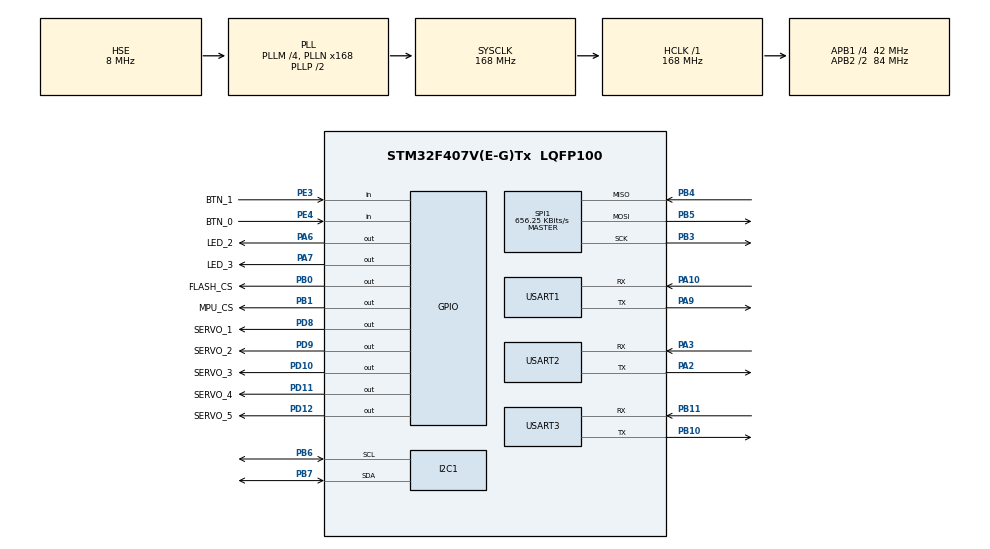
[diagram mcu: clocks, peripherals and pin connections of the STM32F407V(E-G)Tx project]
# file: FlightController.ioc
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Dma.I2C1_RX.0.Direction=DMA_PERIPH_TO_MEMORY
Dma.I2C1_RX.0.FIFOMode=DMA_FIFOMODE_DISABLE
Dma.I2C1_RX.0.Instance=DMA1_Stream0
Dma.I2C1_RX.0.MemDataAlignment=DMA_MDATAALIGN_BYTE
Dma.I2C1_RX.0.MemInc=DMA_MINC_ENABLE
Dma.I2C1_RX.0.Mode=DMA_NORMAL
Dma.I2C1_RX.0.PeriphDataAlignment=DMA_PDATAALIGN_BYTE
Dma.I2C1_RX.0.PeriphInc=DMA_PINC_DISABLE
Dma.I2C1_RX.0.Priority=DMA_PRIORITY_LOW
Dma.I2C1_TX.1.Direction=DMA_MEMORY_TO_PERIPH
Dma.I2C1_TX.1.FIFOMode=DMA_FIFOMODE_DISABLE
Dma.I2C1_TX.1.Instance=DMA1_Stream6
Dma.I2C1_TX.1.MemDataAlignment=DMA_MDATAALIGN_BYTE
Dma.I2C1_TX.1.MemInc=DMA_MINC_ENABLE
Dma.I2C1_TX.1.Mode=DMA_NORMAL
Dma.I2C1_TX.1.PeriphDataAlignment=DMA_PDATAALIGN_BYTE
Dma.I2C1_TX.1.PeriphInc=DMA_PINC_DISABLE
Dma.I2C1_TX.1.Priority=DMA_PRIORITY_LOW
Dma.Request0=I2C1_RX
Dma.Request1=I2C1_TX
Dma.Request2=SPI1_RX
Dma.Request3=SPI1_TX
Dma.SPI1_RX.2.Direction=DMA_PERIPH_TO_MEMORY
Dma.SPI1_RX.2.FIFOMode=DMA_FIFOMODE_DISABLE
Dma.SPI1_RX.2.Instance=DMA2_Stream0
Dma.SPI1_RX.2.MemDataAlignment=DMA_MDATAALIGN_BYTE
Dma.SPI1_RX.2.MemInc=DMA_MINC_ENABLE
Dma.SPI1_RX.2.Mode=DMA_NORMAL
Dma.SPI1_RX.2.PeriphDataAlignment=DMA_PDATAALIGN_BYTE
Dma.SPI1_RX.2.PeriphInc=DMA_PINC_DISABLE
Dma.SPI1_RX.2.Priority=DMA_PRIORITY_LOW
Dma.SPI1_TX.3.Direction=DMA_MEMORY_TO_PERIPH
Dma.SPI1_TX.3.FIFOMode=DMA_FIFOMODE_DISABLE
Dma.SPI1_TX.3.Instance=DMA2_Stream3
Dma.SPI1_TX.3.MemDataAlignment=DMA_MDATAALIGN_BYTE
Dma.SPI1_TX.3.MemInc=DMA_MINC_ENABLE
Dma.SPI1_TX.3.Mode=DMA_NORMAL
Dma.SPI1_TX.3.PeriphDataAlignment=DMA_PDATAALIGN_BYTE
Dma.SPI1_TX.3.PeriphInc=DMA_PINC_DISABLE
Dma.SPI1_TX.3.Priority=DMA_PRIORITY_LOW
I2C1.I2C_Mode=I2C_Fast
Mcu.Family=STM32F4
Mcu.Name=STM32F407V(E-G)Tx
Mcu.Package=LQFP100
NVIC.DMA1_Stream0_IRQn=true\:0\:0\:false\:true\:true\:1\:false\:true
NVIC.DMA1_Stream6_IRQn=true\:0\:0\:false\:true\:true\:2\:false\:true
NVIC.DMA2_Stream0_IRQn=true\:0\:0\:false\:false\:true\:false\:true
NVIC.DMA2_Stream3_IRQn=true\:0\:0\:false\:false\:true\:false\:true
NVIC.I2C1_EV_IRQn=true\:0\:3\:false\:true\:true\:4\:true\:true
NVIC.PriorityGroup=NVIC_PRIORITYGROUP_0
NVIC.TIM1_TRG_COM_TIM11_IRQn=true\:0\:1\:false\:true\:true\:5\:true\:true
NVIC.TIM1_UP_TIM10_IRQn=true\:0\:2\:true\:true\:true\:3\:true\:true
PA10.Mode=Asynchronous
PA10.Signal=USART1_RX
PA2.Mode=Asynchronous
PA2.Signal=USART2_TX
PA3.Mode=Asynchronous
PA3.Signal=USART2_RX
PA6.GPIO_Label=LED_2
PA6.Signal=GPIO_Output
PA7.GPIO_Label=LED_3
PA7.Signal=GPIO_Output
PA9.Mode=Asynchronous
PA9.Signal=USART1_TX
PB0.GPIO_Label=FLASH_CS
PB0.Signal=GPIO_Output
PB1.GPIO_Label=MPU_CS
PB1.Signal=GPIO_Output
PB10.Mode=Asynchronous
PB10.Signal=USART3_TX
PB11.Mode=Asynchronous
PB11.Signal=USART3_RX
PB3.Mode=Full_Duplex_Master
PB3.Signal=SPI1_SCK
PB4.Mode=Full_Duplex_Master
PB4.Signal=SPI1_MISO
PB5.Mode=Full_Duplex_Master
PB5.Signal=SPI1_MOSI
PB6.Mode=I2C
PB6.Signal=I2C1_SCL
PB7.Mode=I2C
PB7.Signal=I2C1_SDA
PC14-OSC32_IN.Mode=LSE-External-Oscillator
PC14-OSC32_IN.Signal=RCC_OSC32_IN
PC15-OSC32_OUT.Mode=LSE-External-Oscillator
PC15-OSC32_OUT.Signal=RCC_OSC32_OUT
PD10.GPIO_Label=SERVO_3
PD10.Signal=GPIO_Output
PD11.GPIO_Label=SERVO_4
PD11.Signal=GPIO_Output
PD12.GPIO_Label=SERVO_5
PD12.Signal=GPIO_Output
PD8.GPIO_Label=SERVO_1
PD8.Signal=GPIO_Output
PD9.GPIO_Label=SERVO_2
PD9.Signal=GPIO_Output
PE3.GPIO_Label=BTN_1
PE3.GPIO_PuPd=GPIO_PULLUP
PE3.Signal=GPIO_Input
PE4.GPIO_Label=BTN_0
PE4.GPIO_PuPd=GPIO_PULLUP
PE4.Signal=GPIO_Input
PH0-OSC_IN.Mode=HSE-External-Oscillator
PH0-OSC_IN.Signal=RCC_OSC_IN
PH1-OSC_OUT.Mode=HSE-External-Oscillator
PH1-OSC_OUT.Signal=RCC_OSC_OUT
ProjectManager.HeapSize=0x200
ProjectManager.StackSize=0x400
ProjectManager.TargetToolchain=STM32CubeIDE
RCC.48MHZClocksFreq_Value=84000000
RCC.AHBFreq_Value=168000000
RCC.APB1CLKDivider=RCC_HCLK_DIV4
RCC.APB1Freq_Value=42000000
RCC.APB1TimFreq_Value=84000000
RCC.APB2CLKDivider=RCC_HCLK_DIV2
RCC.APB2Freq_Value=84000000
RCC.APB2TimFreq_Value=168000000
RCC.CortexFreq_Value=168000000
RCC.HCLKFreq_Value=168000000
RCC.HSE_VALUE=8000000
RCC.HSI_VALUE=16000000
RCC.PLLM=4
RCC.PLLN=168
RCC.PLLSourceVirtual=RCC_PLLSOURCE_HSE
RCC.RCC_RTC_Clock_Source=RCC_RTCCLKSOURCE_LSE
RCC.RCC_RTC_Clock_SourceVirtual=RCC_RTCCLKSOURCE_LSE
RCC.SYSCLKFreq_VALUE=168000000
RCC.SYSCLKSource=RCC_SYSCLKSOURCE_PLLCLK
RCC.VCOOutputFreq_Value=336000000
SPI1.BaudRatePrescaler=SPI_BAUDRATEPRESCALER_128
SPI1.CLKPhase=SPI_PHASE_1EDGE
SPI1.CLKPolarity=SPI_POLARITY_HIGH
SPI1.CalculateBaudRate=656.25 KBits/s
SPI1.DataSize=SPI_DATASIZE_8BIT
SPI1.Direction=SPI_DIRECTION_2LINES
SPI1.Mode=SPI_MODE_MASTER
SPI1.VirtualType=VM_MASTER
TIM10.ClockDivision=TIM_CLOCKDIVISION_DIV1
TIM10.Period=0xFFFF
TIM10.Prescaler=167
TIM11.Period=1500
TIM11.Prescaler=167
USART1.VirtualMode=VM_ASYNC
USART2.VirtualMode=VM_ASYNC
USART3.VirtualMode=VM_ASYNC
VP_RTC_VS_RTC_Activate.Mode=RTC_Enabled
VP_TIM10_VS_ClockSourceINT.Mode=Enable_Timer
VP_TIM11_VS_ClockSourceINT.Mode=Enable_Timer
board=custom

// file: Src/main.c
/* USER CODE BEGIN Header */
/**
 ******************************************************************************
 * @file           : main.c
 * @brief          : Main program body
 ******************************************************************************
 * @attention
 *
 * <h2><center>&copy; Copyright (c) 2019 STMicroelectronics.
 * All rights reserved.</center></h2>
 *
 * This software component is licensed by ST under BSD 3-Clause license,
 * the "License"; You may not use this file except in compliance with the
 * License. You may obtain a copy of the License at:
 *                        opensource.org/licenses/BSD-3-Clause
 *
 ******************************************************************************
 */
/* USER CODE END Header */

#include "main.h"

/* USER CODE BEGIN Includes */
#include "mpu.h"
#ifndef STM32F4
#define STM32F4
#endif
#include "serial.h"
#include "config.h"
#include "WiMOD_HCI_Layer.h"
#include <string.h>
#include "quaternion.h"
#include "control.h"
#include "MadgwickAHRS.h"

/* USER CODE END Includes */

I2C_HandleTypeDef hi2c1;
DMA_HandleTypeDef hdma_i2c1_rx;
DMA_HandleTypeDef hdma_i2c1_tx;

RTC_HandleTypeDef hrtc;

SPI_HandleTypeDef hspi1;
DMA_HandleTypeDef hdma_spi1_rx;
DMA_HandleTypeDef hdma_spi1_tx;

TIM_HandleTypeDef htim10;
TIM_HandleTypeDef htim11;

UART_HandleTypeDef huart1;
UART_HandleTypeDef huart2;
UART_HandleTypeDef huart3;

/* USER CODE BEGIN PV */

float rot[3] = { 0, 0, 0 };
float vel[3] = { 0, 0, 0 };
float trans[3] = { 0, 0, 0 };

extern Quaternion q_soll;

extern uint8_t buff_acc[6];
extern uint8_t buff_gyro[6];
extern uint8_t gruff[14]; //Great buffer

uint8_t watch_check = 0;
extern uint16_t servo[5];
uint8_t curr_servo;

int8_t gyro_offset[3];
uint8_t flag_mpu;
extern float looptime;

/* USER CODE END PV */

void SystemClock_Config(void);
static void MX_GPIO_Init(void);
static void MX_DMA_Init(void);
static void MX_I2C1_Init(void);
static void MX_RTC_Init(void);
static void MX_SPI1_Init(void);
static void MX_TIM10_Init(void);
static void MX_TIM11_Init(void);
static void MX_USART1_UART_Init(void);
static void MX_USART2_UART_Init(void);
static void MX_USART3_UART_Init(void);
static void MX_NVIC_Init(void);

/* USER CODE BEGIN 0 */
void HAL_TIM_PeriodElapsedCallback(TIM_HandleTypeDef *htim) {
	/*
	 if (htim->Instance == TIM10) {
	 } // */
	if (htim->Instance == TIM11) {
		//HAL_GPIO_TogglePin(LED_3_GPIO_Port, LED_3_Pin);
		HAL_GPIO_WritePin(SERVO_1_GPIO_Port, SERVO_1_Pin, GPIO_PIN_RESET);
		HAL_GPIO_WritePin(SERVO_2_GPIO_Port, SERVO_2_Pin, GPIO_PIN_RESET);
		HAL_GPIO_WritePin(SERVO_3_GPIO_Port, SERVO_3_Pin, GPIO_PIN_RESET);
		HAL_GPIO_WritePin(SERVO_4_GPIO_Port, SERVO_4_Pin, GPIO_PIN_RESET);
		HAL_GPIO_WritePin(SERVO_5_GPIO_Port, SERVO_5_Pin, GPIO_PIN_RESET);
		if (flag_mpu) {
			//HAL_TIM_Base_Stop_IT(htim);
			if (watch_check) {
				led3_t();
				HAL_DMA_Abort(&hdma_i2c1_tx);
				HAL_DMA_Abort(&hdma_i2c1_rx);

				hi2c1.ErrorCode = 0;
				flag_mpu = 0;
				watch_check = 0;
			} else {
				htim->Instance->ARR = 5000; //5ms timeout
				mpu_get_all_dma(&hi2c1);
				watch_check = 1;
			}
			return;
		}
		switch (curr_servo) {
		case 0:
			HAL_GPIO_WritePin(SERVO_1_GPIO_Port, SERVO_1_Pin, GPIO_PIN_SET);
			htim->Instance->ARR = servo[0];
			break;
		case 1:
			HAL_GPIO_WritePin(SERVO_2_GPIO_Port, SERVO_2_Pin, GPIO_PIN_SET);
			htim->Instance->ARR = servo[1];
			break;
		case 2:
			HAL_GPIO_WritePin(SERVO_3_GPIO_Port, SERVO_3_Pin, GPIO_PIN_SET);
			htim->Instance->ARR = servo[2];
			break;
		case 3:
			HAL_GPIO_WritePin(SERVO_4_GPIO_Port, SERVO_4_Pin, GPIO_PIN_SET);
			htim->Instance->ARR = servo[3];
			break;
		case 4:
			HAL_GPIO_WritePin(SERVO_5_GPIO_Port, SERVO_5_Pin, GPIO_PIN_SET);
			htim->Instance->ARR = servo[4];
			break;
		}
		curr_servo++;
		flag_mpu = 1;
		if (curr_servo > 4) {
			curr_servo = 0;
		}
	}
	while (0)
		;
}

/**
 * @brief  Master Rx Transfer completed callback.
 * @param  hi2c Pointer to a I2C_HandleTypeDef structure that contains
 *                the configuration information for the specified I2C.
 * @retval None
 */
void HAL_I2C_MemRxCpltCallback(I2C_HandleTypeDef *hi2c) {

	//Zeit messen
	HAL_TIM_Base_Stop(&htim10);
	led2_t();
	looptime = htim10.Instance->CNT * 0.000001; //In s umrechnen
	htim10.Instance->CNT = 0;
	HAL_TIM_Base_Start(&htim10);
	//Daten aus Buffer gruff holen und zusammensetzen
	int16_t acc[3], gyro[3], tempt;
	float gx, gy, gz, temp;
	acc[0] = (((int16_t) gruff[0] << 8) | gruff[1]);
	acc[0] = acc[0] / ACC_SCALE_4g;
	acc[1] = (((int16_t) gruff[2] << 8) | gruff[3]);
	acc[1] = acc[1] / ACC_SCALE_4g;
	acc[2] = (((int16_t) gruff[4] << 8) | gruff[5]);
	acc[2] = acc[2] / ACC_SCALE_4g;
	tempt = ((int16_t) gruff[6] << 8) | gruff[7];
	temp = (tempt / 340.0f) + 36.53f;
	gyro[0] = (((int16_t) gruff[8] << 8) | gruff[9]) - gyro_offset[0];
	gx = ((float) gyro[0] / GYRO_SCALE_2000dps) * (M_PI / 180.0f);
	gyro[1] = (((int16_t) gruff[10] << 8) | gruff[11]) - gyro_offset[1];
	gy = ((float) gyro[1] / GYRO_SCALE_2000dps) * (M_PI / 180.0f);
	gyro[2] = (((int16_t) gruff[12] << 8) | gruff[13]) - gyro_offset[2];
	gz = ((float) gyro[2] / GYRO_SCALE_2000dps) * (M_PI / 180.0f);

	MadgwickAHRSupdateIMU(gx, gy, gz, acc[0], acc[1], acc[2]);

	pid_yaw();
	pid_pitch();
	pid_roll();
	watch_check = 0;
	flag_mpu = 0;
	htim11.Instance->ARR = 10; // Damit er gleich zurück zum Servo springt
	htim11.Instance->CNT = 0;
	//HAL_TIM_Base_Start_IT(&htim11);

}

void dump_quat_on_uart() {
	uint8_t buff[8];
	int16_t iq0, iq1, iq2, iq3;
	iq0 = (int16_t) (q_ist.q0 * 10000.0f);
	iq1 = (int16_t) (q_ist.q1 * 10000.0f);
	iq2 = (int16_t) (q_ist.q2 * 10000.0f);
	iq3 = (int16_t) (q_ist.q3 * 10000.0f);
	buff[0] = iq0 >> 8;
	buff[1] = iq0;
	buff[2] = iq1 >> 8;
	buff[3] = iq1;
	buff[4] = iq2 >> 8;
	buff[5] = iq2;
	buff[6] = iq3 >> 8;
	buff[7] = iq3;
	//itoa((int16_t) (q0 * 1000.f), buff, 10);
	//HAL_UART_Transmit(&huart1, buff, 8, 160);
	Quaternion qm;
	quat_copy(&q_ist, &qm);
	Quaternion qx = { 0, 1, 0, 0 }, qy = { 0, 0, 1, 0 }, qz = { 0, 0, 0, 1 };
	//Achsen auf aktuelle Position projezieren
	quat_qpq(&qm, &qx, &qx);
	quat_qpq(&qm, &qy, &qy);
	quat_qpq(&qm, &qz, &qz);

	char txt_buff[] = "   :   :   :   ";
	itoa((int) (qx.q0 * 10.0f), &txt_buff[0], 10);
	itoa((int) (qx.q1 * 10.0f), &txt_buff[4], 10);
	itoa((int) (qx.q2 * 10.0f), &txt_buff[8], 10);
	itoa((int) (qx.q3 * 10.0f), &txt_buff[12], 10);
	HAL_UART_Transmit(&huart1, txt_buff, 16, 160);
	HAL_UART_Transmit(&huart1, "\n\r", 2, 160);
}

TWiMOD_HCI_Message lora_cb(TWiMOD_HCI_Message msg) {
	TWiMOD_HCI_Message ret;
	return ret;
}

/* USER CODE END 0 */

int main(void)
{

  /* MCU Configuration--------------------------------------------------------*/

  /* Reset of all peripherals, Initializes the Flash interface and the Systick. */
  HAL_Init();

  /* Configure the system clock */
  SystemClock_Config();

  /* Initialize all configured peripherals */
  MX_GPIO_Init();
  MX_DMA_Init();
  MX_I2C1_Init();
  MX_RTC_Init();
  MX_SPI1_Init();
  MX_TIM10_Init();
  MX_TIM11_Init();
  MX_USART1_UART_Init();
  MX_USART2_UART_Init();
  MX_USART3_UART_Init();

  /* Initialize interrupts */
  MX_NVIC_Init();
  /* USER CODE BEGIN 2 */
	print_uart("Startup...");
	HAL_NVIC_DisableIRQ(I2C1_EV_IRQn);
	//mpu_init_spi(&hspi1);
	mpu_init_std(&hi2c1);
	//mpu_set_sensors(INV_XYZ_ACCEL | INV_XYZ_GYRO | INV_XYZ_COMPASS);

	pid_init();
	leds_reset(); //LEDs ausschalten
	HAL_GPIO_WritePin(MPU_CS_GPIO_Port, MPU_CS_Pin, GPIO_PIN_SET); // MPU Select auf HIGH
	HAL_GPIO_WritePin(FLASH_CS_GPIO_Port, FLASH_CS_Pin, GPIO_PIN_SET); // Flash Select auf HIGH

	HAL_Delay(10);
	blink(4);
	mpu_calibrate(&hi2c1, gyro_offset, rot);
	//
	//TWiMOD_HCI_CbRxMessage cbm = (&lora_cb);
	TWiMOD_HCI_Message iMsg = { 0, 0x01, 0x01, 0, 0 };
	WiMOD_HCI_Init(&lora_cb, &iMsg);
	HAL_Delay(5);
	// */
  /* USER CODE END 2 */

  /* Infinite loop */
  /* USER CODE BEGIN WHILE */

	curr_servo = 0;
	flag_mpu = 0;
	center_off(); //Servos mittig, motor aus
	HAL_NVIC_EnableIRQ(I2C1_EV_IRQn);
	//HAL_TIM_Base_Start(&htim10); //MPU/IMU Timer
	HAL_TIM_Base_Start_IT(&htim11); //Servo Timer

	uint8_t state = 1, demo = 0;
	uint32_t tick = 0, tack = 0;

	Quaternion q180 = {0,0,0,1};

	while (1) {
		switch (state) {
		case 0:	//IDLE
			servo[0] = 1000; //Motor aus
			break;

		case 1: //DEMO
			switch (demo) {
			case 0:
				//Startup Motor
				if (servo[2] < 1500) {
					servo[2]++;
				} else {
					demo++;
					tick = HAL_GetTick();
				}
				break;

			case 1:
				//Strecke fliegen,
				if (HAL_GetTick() - tick >= 15000) {
					demo++;
				}
				break;
			case 2:
				//Ne Kurve machen um 180 Grad
				quat_multiply(&q_soll, &q180, &q_soll);
				//yaw(300);
				demo = 0;
				break;

			default:
				break;
			}
			break;
		default:
			break;
		}

		//Sekündlich Dinge tun
		if (HAL_GetTick() - tack >= 1000) {
			TWiMOD_HCI_Message wiMsg;
			wiMsg.MsgID = RADIOLINK_MSG_SEND_U_DATA_REQ;
			wiMsg.SapID = RADIOLINK_ID;
			wiMsg.Payload[0] = 0x17;
			wiMsg.Payload[1] = 0xBB;
			wiMsg.Payload[2] = 0xAA;

			wiMsg.Payload[3] = (uint8_t) (q_ist.q0 + 1.0) * 100.0;
			wiMsg.Payload[4] = (uint8_t) (q_ist.q1 + 1.0) * 100.0;
			wiMsg.Payload[5] = (uint8_t) (q_ist.q2 + 1.0) * 100.0;
			wiMsg.Payload[6] = (uint8_t) (q_ist.q3 + 1.0) * 100.0;
			wiMsg.Length = 7;
			WiMOD_HCI_SendMessage(&wiMsg);

			dump_quat_on_uart();

			//Checksumme über Sensorwerte bilden

			tack = HAL_GetTick();
		}

		if (!HAL_GPIO_ReadPin(BTN_0_GPIO_Port, BTN_0_Pin)) {
			state = 0;
		}
	}
    /* USER CODE END WHILE */

}

void SystemClock_Config(void)
{
  RCC_OscInitTypeDef RCC_OscInitStruct = {0};
  RCC_ClkInitTypeDef RCC_ClkInitStruct = {0};
  RCC_PeriphCLKInitTypeDef PeriphClkInitStruct = {0};

  /** Configure the main internal regulator output voltage
  */
  __HAL_RCC_PWR_CLK_ENABLE();
  __HAL_PWR_VOLTAGESCALING_CONFIG(PWR_REGULATOR_VOLTAGE_SCALE1);
  /** Initializes the CPU, AHB and APB busses clocks
  */
  RCC_OscInitStruct.OscillatorType = RCC_OSCILLATORTYPE_HSE|RCC_OSCILLATORTYPE_LSE;
  RCC_OscInitStruct.HSEState = RCC_HSE_ON;
  RCC_OscInitStruct.LSEState = RCC_LSE_ON;
  RCC_OscInitStruct.PLL.PLLState = RCC_PLL_ON;
  RCC_OscInitStruct.PLL.PLLSource = RCC_PLLSOURCE_HSE;
  RCC_OscInitStruct.PLL.PLLM = 4;
  RCC_OscInitStruct.PLL.PLLN = 168;
  RCC_OscInitStruct.PLL.PLLP = RCC_PLLP_DIV2;
  RCC_OscInitStruct.PLL.PLLQ = 4;
  if (HAL_RCC_OscConfig(&RCC_OscInitStruct) != HAL_OK)
  {
    Error_Handler();
  }
  /** Initializes the CPU, AHB and APB busses clocks
  */
  RCC_ClkInitStruct.ClockType = RCC_CLOCKTYPE_HCLK|RCC_CLOCKTYPE_SYSCLK
                              |RCC_CLOCKTYPE_PCLK1|RCC_CLOCKTYPE_PCLK2;
  RCC_ClkInitStruct.SYSCLKSource = RCC_SYSCLKSOURCE_PLLCLK;
  RCC_ClkInitStruct.AHBCLKDivider = RCC_SYSCLK_DIV1;
  RCC_ClkInitStruct.APB1CLKDivider = RCC_HCLK_DIV4;
  RCC_ClkInitStruct.APB2CLKDivider = RCC_HCLK_DIV2;

  if (HAL_RCC_ClockConfig(&RCC_ClkInitStruct, FLASH_LATENCY_5) != HAL_OK)
  {
    Error_Handler();
  }
  PeriphClkInitStruct.PeriphClockSelection = RCC_PERIPHCLK_RTC;
  PeriphClkInitStruct.RTCClockSelection = RCC_RTCCLKSOURCE_LSE;
  if (HAL_RCCEx_PeriphCLKConfig(&PeriphClkInitStruct) != HAL_OK)
  {
    Error_Handler();
  }
}

/**
  * @brief NVIC Configuration.
  * @retval None
  */
static void MX_NVIC_Init(void)
{
  /* DMA1_Stream0_IRQn interrupt configuration */
  HAL_NVIC_SetPriority(DMA1_Stream0_IRQn, 0, 0);
  HAL_NVIC_EnableIRQ(DMA1_Stream0_IRQn);
  /* DMA1_Stream6_IRQn interrupt configuration */
  HAL_NVIC_SetPriority(DMA1_Stream6_IRQn, 0, 0);
  HAL_NVIC_EnableIRQ(DMA1_Stream6_IRQn);
  /* TIM1_UP_TIM10_IRQn interrupt configuration */
  HAL_NVIC_SetPriority(TIM1_UP_TIM10_IRQn, 0, 2);
  HAL_NVIC_EnableIRQ(TIM1_UP_TIM10_IRQn);
  /* I2C1_EV_IRQn interrupt configuration */
  HAL_NVIC_SetPriority(I2C1_EV_IRQn, 0, 3);
  HAL_NVIC_EnableIRQ(I2C1_EV_IRQn);
  /* TIM1_TRG_COM_TIM11_IRQn interrupt configuration */
  HAL_NVIC_SetPriority(TIM1_TRG_COM_TIM11_IRQn, 0, 1);
  HAL_NVIC_EnableIRQ(TIM1_TRG_COM_TIM11_IRQn);
}

static void MX_I2C1_Init(void)
{

  hi2c1.Instance = I2C1;
  hi2c1.Init.ClockSpeed = 400000;
  hi2c1.Init.DutyCycle = I2C_DUTYCYCLE_2;
  hi2c1.Init.OwnAddress1 = 0;
  hi2c1.Init.AddressingMode = I2C_ADDRESSINGMODE_7BIT;
  hi2c1.Init.DualAddressMode = I2C_DUALADDRESS_DISABLE;
  hi2c1.Init.OwnAddress2 = 0;
  hi2c1.Init.GeneralCallMode = I2C_GENERALCALL_DISABLE;
  hi2c1.Init.NoStretchMode = I2C_NOSTRETCH_DISABLE;
  if (HAL_I2C_Init(&hi2c1) != HAL_OK)
  {
    Error_Handler();
  }

}

static void MX_RTC_Init(void)
{

  /** Initialize RTC Only
  */
  hrtc.Instance = RTC;
  hrtc.Init.HourFormat = RTC_HOURFORMAT_24;
  hrtc.Init.AsynchPrediv = 127;
  hrtc.Init.SynchPrediv = 255;
  hrtc.Init.OutPut = RTC_OUTPUT_DISABLE;
  hrtc.Init.OutPutPolarity = RTC_OUTPUT_POLARITY_HIGH;
  hrtc.Init.OutPutType = RTC_OUTPUT_TYPE_OPENDRAIN;
  if (HAL_RTC_Init(&hrtc) != HAL_OK)
  {
    Error_Handler();
  }

}

static void MX_SPI1_Init(void)
{

  /* SPI1 parameter configuration*/
  hspi1.Instance = SPI1;
  hspi1.Init.Mode = SPI_MODE_MASTER;
  hspi1.Init.Direction = SPI_DIRECTION_2LINES;
  hspi1.Init.DataSize = SPI_DATASIZE_8BIT;
  hspi1.Init.CLKPolarity = SPI_POLARITY_HIGH;
  hspi1.Init.CLKPhase = SPI_PHASE_1EDGE;
  hspi1.Init.NSS = SPI_NSS_SOFT;
  hspi1.Init.BaudRatePrescaler = SPI_BAUDRATEPRESCALER_128;
  hspi1.Init.FirstBit = SPI_FIRSTBIT_MSB;
  hspi1.Init.TIMode = SPI_TIMODE_DISABLE;
  hspi1.Init.CRCCalculation = SPI_CRCCALCULATION_DISABLE;
  hspi1.Init.CRCPolynomial = 10;
  if (HAL_SPI_Init(&hspi1) != HAL_OK)
  {
    Error_Handler();
  }

}

static void MX_TIM10_Init(void)
{

  /* USER CODE BEGIN TIM10_Init 1 */
//PRE: 42-1 ; Period: 16000
  /* USER CODE END TIM10_Init 1 */
  htim10.Instance = TIM10;
  htim10.Init.Prescaler = 167;
  htim10.Init.CounterMode = TIM_COUNTERMODE_UP;
  htim10.Init.Period = 0xFFFF;
  htim10.Init.ClockDivision = TIM_CLOCKDIVISION_DIV1;
  htim10.Init.AutoReloadPreload = TIM_AUTORELOAD_PRELOAD_DISABLE;
  if (HAL_TIM_Base_Init(&htim10) != HAL_OK)
  {
    Error_Handler();
  }

}

static void MX_TIM11_Init(void)
{

  /* USER CODE BEGIN TIM11_Init 1 */
//PRE: 168-1 ; Period: 5000
  /* USER CODE END TIM11_Init 1 */
  htim11.Instance = TIM11;
  htim11.Init.Prescaler = 167;
  htim11.Init.CounterMode = TIM_COUNTERMODE_UP;
  htim11.Init.Period = 1500;
  htim11.Init.ClockDivision = TIM_CLOCKDIVISION_DIV1;
  htim11.Init.AutoReloadPreload = TIM_AUTORELOAD_PRELOAD_DISABLE;
  if (HAL_TIM_Base_Init(&htim11) != HAL_OK)
  {
    Error_Handler();
  }

}

static void MX_USART1_UART_Init(void)
{

  huart1.Instance = USART1;
  huart1.Init.BaudRate = 115200;
  huart1.Init.WordLength = UART_WORDLENGTH_8B;
  huart1.Init.StopBits = UART_STOPBITS_1;
  huart1.Init.Parity = UART_PARITY_NONE;
  huart1.Init.Mode = UART_MODE_TX_RX;
  huart1.Init.HwFlowCtl = UART_HWCONTROL_NONE;
  huart1.Init.OverSampling = UART_OVERSAMPLING_16;
  if (HAL_UART_Init(&huart1) != HAL_OK)
  {
    Error_Handler();
  }

}

static void MX_USART2_UART_Init(void)
{

  huart2.Instance = USART2;
  huart2.Init.BaudRate = 115200;
  huart2.Init.WordLength = UART_WORDLENGTH_8B;
  huart2.Init.StopBits = UART_STOPBITS_1;
  huart2.Init.Parity = UART_PARITY_NONE;
  huart2.Init.Mode = UART_MODE_TX_RX;
  huart2.Init.HwFlowCtl = UART_HWCONTROL_NONE;
  huart2.Init.OverSampling = UART_OVERSAMPLING_16;
  if (HAL_UART_Init(&huart2) != HAL_OK)
  {
    Error_Handler();
  }

}

static void MX_USART3_UART_Init(void)
{

  huart3.Instance = USART3;
  huart3.Init.BaudRate = 115200;
  huart3.Init.WordLength = UART_WORDLENGTH_8B;
  huart3.Init.StopBits = UART_STOPBITS_1;
  huart3.Init.Parity = UART_PARITY_NONE;
  huart3.Init.Mode = UART_MODE_TX_RX;
  huart3.Init.HwFlowCtl = UART_HWCONTROL_NONE;
  huart3.Init.OverSampling = UART_OVERSAMPLING_16;
  if (HAL_UART_Init(&huart3) != HAL_OK)
  {
    Error_Handler();
  }

}

static void MX_DMA_Init(void)
{

  /* DMA controller clock enable */
  __HAL_RCC_DMA1_CLK_ENABLE();
  __HAL_RCC_DMA2_CLK_ENABLE();

  /* DMA interrupt init */
  /* DMA2_Stream0_IRQn interrupt configuration */
  HAL_NVIC_SetPriority(DMA2_Stream0_IRQn, 0, 0);
  HAL_NVIC_EnableIRQ(DMA2_Stream0_IRQn);
  /* DMA2_Stream3_IRQn interrupt configuration */
  HAL_NVIC_SetPriority(DMA2_Stream3_IRQn, 0, 0);
  HAL_NVIC_EnableIRQ(DMA2_Stream3_IRQn);

}

static void MX_GPIO_Init(void)
{
  GPIO_InitTypeDef GPIO_InitStruct = {0};

  /* GPIO Ports Clock Enable */
  __HAL_RCC_GPIOE_CLK_ENABLE();
  __HAL_RCC_GPIOC_CLK_ENABLE();
  __HAL_RCC_GPIOH_CLK_ENABLE();
  __HAL_RCC_GPIOA_CLK_ENABLE();
  __HAL_RCC_GPIOB_CLK_ENABLE();
  __HAL_RCC_GPIOD_CLK_ENABLE();

  /*Configure GPIO pin Output Level */
  HAL_GPIO_WritePin(GPIOA, LED_2_Pin|LED_3_Pin, GPIO_PIN_RESET);

  /*Configure GPIO pin Output Level */
  HAL_GPIO_WritePin(GPIOB, FLASH_CS_Pin|MPU_CS_Pin, GPIO_PIN_RESET);

  /*Configure GPIO pin Output Level */
  HAL_GPIO_WritePin(GPIOD, SERVO_1_Pin|SERVO_2_Pin|SERVO_3_Pin|SERVO_4_Pin
                          |SERVO_5_Pin, GPIO_PIN_RESET);

  /*Configure GPIO pins : BTN_1_Pin BTN_0_Pin */
  GPIO_InitStruct.Pin = BTN_1_Pin|BTN_0_Pin;
  GPIO_InitStruct.Mode = GPIO_MODE_INPUT;
  GPIO_InitStruct.Pull = GPIO_PULLUP;
  HAL_GPIO_Init(GPIOE, &GPIO_InitStruct);

  /*Configure GPIO pins : LED_2_Pin LED_3_Pin */
  GPIO_InitStruct.Pin = LED_2_Pin|LED_3_Pin;
  GPIO_InitStruct.Mode = GPIO_MODE_OUTPUT_PP;
  GPIO_InitStruct.Pull = GPIO_NOPULL;
  GPIO_InitStruct.Speed = GPIO_SPEED_FREQ_LOW;
  HAL_GPIO_Init(GPIOA, &GPIO_InitStruct);

  /*Configure GPIO pins : FLASH_CS_Pin MPU_CS_Pin */
  GPIO_InitStruct.Pin = FLASH_CS_Pin|MPU_CS_Pin;
  GPIO_InitStruct.Mode = GPIO_MODE_OUTPUT_PP;
  GPIO_InitStruct.Pull = GPIO_NOPULL;
  GPIO_InitStruct.Speed = GPIO_SPEED_FREQ_LOW;
  HAL_GPIO_Init(GPIOB, &GPIO_InitStruct);

  /*Configure GPIO pins : SERVO_1_Pin SERVO_2_Pin SERVO_3_Pin SERVO_4_Pin
                           SERVO_5_Pin */
  GPIO_InitStruct.Pin = SERVO_1_Pin|SERVO_2_Pin|SERVO_3_Pin|SERVO_4_Pin
                          |SERVO_5_Pin;
  GPIO_InitStruct.Mode = GPIO_MODE_OUTPUT_PP;
  GPIO_InitStruct.Pull = GPIO_NOPULL;
  GPIO_InitStruct.Speed = GPIO_SPEED_FREQ_LOW;
  HAL_GPIO_Init(GPIOD, &GPIO_InitStruct);

}

void Error_Handler(void)
{
}

/************************ (C) COPYRIGHT STMicroelectronics *****END OF FILE****/
